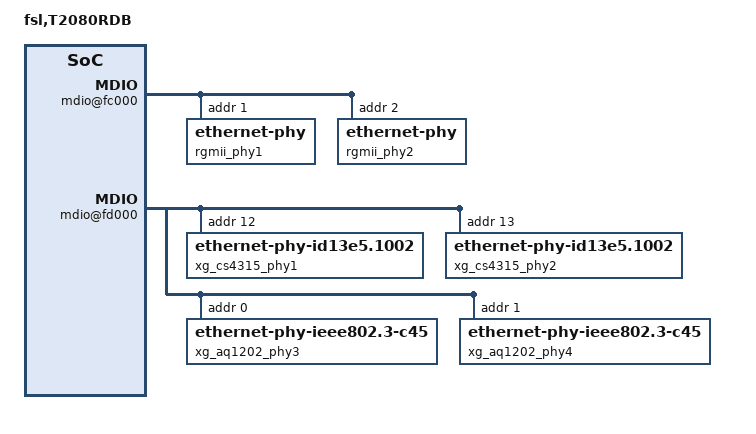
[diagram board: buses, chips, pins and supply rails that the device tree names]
/*
 * T2080PCIe-RDB Board Device Tree Source
 *
 * Copyright 2014 - 2015 Freescale Semiconductor Inc.
 *
 * Redistribution and use in source and binary forms, with or without
 * modification, are permitted provided that the following conditions are met:
 *     * Redistributions of source code must retain the above copyright
 *	 notice, this list of conditions and the following disclaimer.
 *     * Redistributions in binary form must reproduce the above copyright
 *	 notice, this list of conditions and the following disclaimer in the
 *	 documentation and/or other materials provided with the distribution.
 *     * Neither the name of Freescale Semiconductor nor the
 *	 names of its contributors may be used to endorse or promote products
 *	 derived from this software without specific prior written permission.
 *
 *
 * ALTERNATIVELY, this software may be distributed under the terms of the
 * GNU General Public License ("GPL") as published by the Free Software
 * Foundation, either version 2 of that License or (at your option) any
 * later version.
 *
 * THIS SOFTWARE IS PROVIDED BY Freescale Semiconductor "AS IS" AND ANY
 * EXPRESS OR IMPLIED WARRANTIES, INCLUDING, BUT NOT LIMITED TO, THE IMPLIED
 * WARRANTIES OF MERCHANTABILITY AND FITNESS FOR A PARTICULAR PURPOSE ARE
 * DISCLAIMED. IN NO EVENT SHALL Freescale Semiconductor BE LIABLE FOR ANY
 * DIRECT, INDIRECT, INCIDENTAL, SPECIAL, EXEMPLARY, OR CONSEQUENTIAL DAMAGES
 * (INCLUDING, BUT NOT LIMITED TO, PROCUREMENT OF SUBSTITUTE GOODS OR SERVICES;
 * LOSS OF USE, DATA, OR PROFITS; OR BUSINESS INTERRUPTION) HOWEVER CAUSED AND
 * ON ANY THEORY OF LIABILITY, WHETHER IN CONTRACT, STRICT LIABILITY, OR TORT
 * (INCLUDING NEGLIGENCE OR OTHERWISE) ARISING IN ANY WAY OUT OF THE USE OF THIS
 * SOFTWARE, EVEN IF ADVISED OF THE POSSIBILITY OF SUCH DAMAGE.
 */

/include/ "t208xsi-pre.dtsi"
/include/ "t208xrdb.dtsi"

/ {
	model = "fsl,T2080RDB";
	compatible = "fsl,T2080RDB";
	#address-cells = <2>;
	#size-cells = <2>;
	interrupt-parent = <&mpic>;

	rio: rapidio@ffe0c0000 {
		reg = <0xf 0xfe0c0000 0 0x11000>;

		port1 {
			ranges = <0 0 0xc 0x20000000 0 0x10000000>;
		};
		port2 {
			ranges = <0 0 0xc 0x30000000 0 0x10000000>;
		};
	};
};

&soc {
	fman@400000 {
		ethernet@e0000 {
			phy-handle = <&xg_aq1202_phy3>;
			phy-connection-type = "xgmii";
		};

		ethernet@e2000 {
			phy-handle = <&xg_aq1202_phy4>;
			phy-connection-type = "xgmii";
		};

		ethernet@e4000 {
			phy-handle = <&rgmii_phy1>;
			phy-connection-type = "rgmii";
		};

		ethernet@e6000 {
			phy-handle = <&rgmii_phy2>;
			phy-connection-type = "rgmii";
		};

		ethernet@f0000 {
			phy-handle = <&xg_cs4315_phy1>;
			phy-connection-type = "xgmii";
		};

		ethernet@f2000 {
			phy-handle = <&xg_cs4315_phy2>;
			phy-connection-type = "xgmii";
		};

		mdio@fc000 {
			rgmii_phy1: ethernet-phy@1 {
				reg = <0x1>;
			};
			rgmii_phy2: ethernet-phy@2 {
				reg = <0x2>;
			};
		};

		mdio@fd000 {
			xg_cs4315_phy1: ethernet-phy@c {
				compatible = "ethernet-phy-id13e5.1002";
				reg = <0xc>;
			};

			xg_cs4315_phy2: ethernet-phy@d {
				compatible = "ethernet-phy-id13e5.1002";
				reg = <0xd>;
			};

			xg_aq1202_phy3: ethernet-phy@0 {
				compatible = "ethernet-phy-ieee802.3-c45";
				reg = <0x0>;
			};

			xg_aq1202_phy4: ethernet-phy@1 {
				compatible = "ethernet-phy-ieee802.3-c45";
				reg = <0x1>;
			};
		};
	};
};

/include/ "t2080si-post.dtsi"
